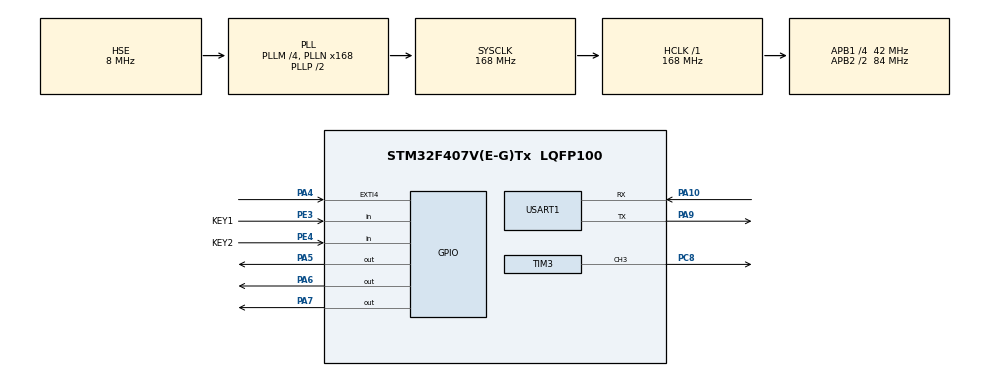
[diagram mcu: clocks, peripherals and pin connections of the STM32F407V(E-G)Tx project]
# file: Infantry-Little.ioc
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Mcu.Family=STM32F4
Mcu.Name=STM32F407V(E-G)Tx
Mcu.Package=LQFP100
Mcu.UserConstants=CORECLK,168000000;PWMFREQ,15000;PWMPRSC,168-1;PWMPERIOD,CORECLK/(PWMFREQ*(PWMPRSC+1))
NVIC.EXTI4_IRQn=true\:0\:0\:false\:false\:true\:true\:true\:true
NVIC.PriorityGroup=NVIC_PRIORITYGROUP_4
NVIC.TIM3_IRQn=true\:1\:0\:true\:false\:true\:true\:true\:true
NVIC.USART1_IRQn=true\:5\:0\:true\:false\:true\:true\:true\:true
PA10.Mode=Asynchronous
PA10.Signal=USART1_RX
PA13.Mode=Serial_Wire
PA13.Signal=SYS_JTMS-SWDIO
PA14.Mode=Serial_Wire
PA14.Signal=SYS_JTCK-SWCLK
PA4.Signal=GPXTI4
PA5.Signal=GPIO_Output
PA6.Signal=GPIO_Output
PA7.Signal=GPIO_Output
PA9.Mode=Asynchronous
PA9.Signal=USART1_TX
PC14-OSC32_IN.Mode=LSE-External-Oscillator
PC14-OSC32_IN.Signal=RCC_OSC32_IN
PC15-OSC32_OUT.Mode=LSE-External-Oscillator
PC15-OSC32_OUT.Signal=RCC_OSC32_OUT
PC8.Signal=S_TIM3_CH3
PE3.GPIO_Label=KEY1
PE3.Signal=GPIO_Input
PE4.GPIO_Label=KEY2
PE4.GPIO_PuPd=GPIO_PULLUP
PE4.Signal=GPIO_Input
PH0-OSC_IN.Mode=HSE-External-Oscillator
PH0-OSC_IN.Signal=RCC_OSC_IN
PH1-OSC_OUT.Mode=HSE-External-Oscillator
PH1-OSC_OUT.Signal=RCC_OSC_OUT
ProjectManager.HeapSize=0x5000
ProjectManager.StackSize=0x5000
ProjectManager.TargetToolchain=CMake
RCC.48MHZClocksFreq_Value=84000000
RCC.AHBFreq_Value=168000000
RCC.APB1CLKDivider=RCC_HCLK_DIV4
RCC.APB1Freq_Value=42000000
RCC.APB1TimFreq_Value=84000000
RCC.APB2CLKDivider=RCC_HCLK_DIV2
RCC.APB2Freq_Value=84000000
RCC.APB2TimFreq_Value=168000000
RCC.CortexFreq_Value=168000000
RCC.HCLKFreq_Value=168000000
RCC.HSE_VALUE=8000000
RCC.HSI_VALUE=16000000
RCC.PLLM=4
RCC.PLLN=168
RCC.PLLSourceVirtual=RCC_PLLSOURCE_HSE
RCC.SYSCLKFreq_VALUE=168000000
RCC.SYSCLKSource=RCC_SYSCLKSOURCE_PLLCLK
RCC.VCOOutputFreq_Value=336000000
SH.S_TIM3_CH3.0=TIM3_CH3,PWM Generation3 CH3
STMicroelectronics.X-CUBE-ALGOBUILD.1.3.0.LibraryCcDSPOoLibraryJjDSPOoLibrary=true
TIM3.Channel-PWM\ Generation3\ CH3=TIM_CHANNEL_3
USART1.VirtualMode=VM_ASYNC
VP_STMicroelectronics.X-CUBE-ALGOBUILD_VS_DSPOoLibraryJjLibrary_1.3.0_1.3.0.Mode=DSPOoLibraryJjLibrary
VP_TIM3_VS_ClockSourceINT.Mode=Internal
board=custom

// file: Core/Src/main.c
/* USER CODE BEGIN Header */
/**
  ******************************************************************************
  * @file           : main.c
  * @brief          : Main program body
  ******************************************************************************
  * @attention
  *
  * Copyright (c) 2025 STMicroelectronics.
  * All rights reserved.
  *
  * This software is licensed under terms that can be found in the LICENSE file
  * in the root directory of this software component.
  * If no LICENSE file comes with this software, it is provided AS-IS.
  *
  ******************************************************************************
  */
/* USER CODE END Header */
#include "main.h"
#include "tim.h"
#include "usart.h"
#include "gpio.h"

/* USER CODE BEGIN Includes */
#include "robot.h"
#include "printf.h"
#include "DBGUltils.h"
/* USER CODE END Includes */

void SystemClock_Config(void);

int main(void)
{

  /* MCU Configuration--------------------------------------------------------*/

  /* Reset of all peripherals, Initializes the Flash interface and the Systick. */
  HAL_Init();

  /* Configure the system clock */
  SystemClock_Config();

  /* USER CODE BEGIN SysInit */
  stack_canary_init();
  /* USER CODE END SysInit */

  /* Initialize all configured peripherals */
  MX_GPIO_Init();
  MX_USART1_UART_Init();
  MX_TIM3_Init();
  /* USER CODE BEGIN 2 */
  printf("Hello World!\r\n");
  RobotInit();
  stack_overflow_test();
  /* USER CODE END 2 */

  /* Infinite loop */
  /* USER CODE BEGIN WHILE */
  while (1)
  {
    RobotTask();
    /* USER CODE END WHILE */

  }
}

void SystemClock_Config(void)
{
  RCC_OscInitTypeDef RCC_OscInitStruct = {0};
  RCC_ClkInitTypeDef RCC_ClkInitStruct = {0};

  /** Configure the main internal regulator output voltage
  */
  __HAL_RCC_PWR_CLK_ENABLE();
  __HAL_PWR_VOLTAGESCALING_CONFIG(PWR_REGULATOR_VOLTAGE_SCALE1);

  /** Initializes the RCC Oscillators according to the specified parameters
  * in the RCC_OscInitTypeDef structure.
  */
  RCC_OscInitStruct.OscillatorType = RCC_OSCILLATORTYPE_HSE;
  RCC_OscInitStruct.HSEState = RCC_HSE_ON;
  RCC_OscInitStruct.PLL.PLLState = RCC_PLL_ON;
  RCC_OscInitStruct.PLL.PLLSource = RCC_PLLSOURCE_HSE;
  RCC_OscInitStruct.PLL.PLLM = 4;
  RCC_OscInitStruct.PLL.PLLN = 168;
  RCC_OscInitStruct.PLL.PLLP = RCC_PLLP_DIV2;
  RCC_OscInitStruct.PLL.PLLQ = 4;
  if (HAL_RCC_OscConfig(&RCC_OscInitStruct) != HAL_OK)
  {
    Error_Handler();
  }

  /** Initializes the CPU, AHB and APB buses clocks
  */
  RCC_ClkInitStruct.ClockType = RCC_CLOCKTYPE_HCLK|RCC_CLOCKTYPE_SYSCLK
                              |RCC_CLOCKTYPE_PCLK1|RCC_CLOCKTYPE_PCLK2;
  RCC_ClkInitStruct.SYSCLKSource = RCC_SYSCLKSOURCE_PLLCLK;
  RCC_ClkInitStruct.AHBCLKDivider = RCC_SYSCLK_DIV1;
  RCC_ClkInitStruct.APB1CLKDivider = RCC_HCLK_DIV4;
  RCC_ClkInitStruct.APB2CLKDivider = RCC_HCLK_DIV2;

  if (HAL_RCC_ClockConfig(&RCC_ClkInitStruct, FLASH_LATENCY_5) != HAL_OK)
  {
    Error_Handler();
  }
}

/* USER CODE BEGIN 4 */

// 在 startup_stm32fxxx.s 或 .c 文件中
__attribute__((naked)) void HardFault_Handler(void)
{
    __asm volatile (
        "tst    lr, #4                  \n"  // 检查 EXC_RETURN bit2：0=MSP, 1=PSP
        "ite    eq                      \n"
        "mrseq  r0, msp                 \n"  // 主栈
        "mrsne  r0, psp                 \n"  // 进程栈（FreeRTOS）
        "b      HardFault_Handler_C     \n"
    );
}

/* USER CODE END 4 */

void Error_Handler(void)
{
  __disable_irq();
  while (1)
  {
  }
}
